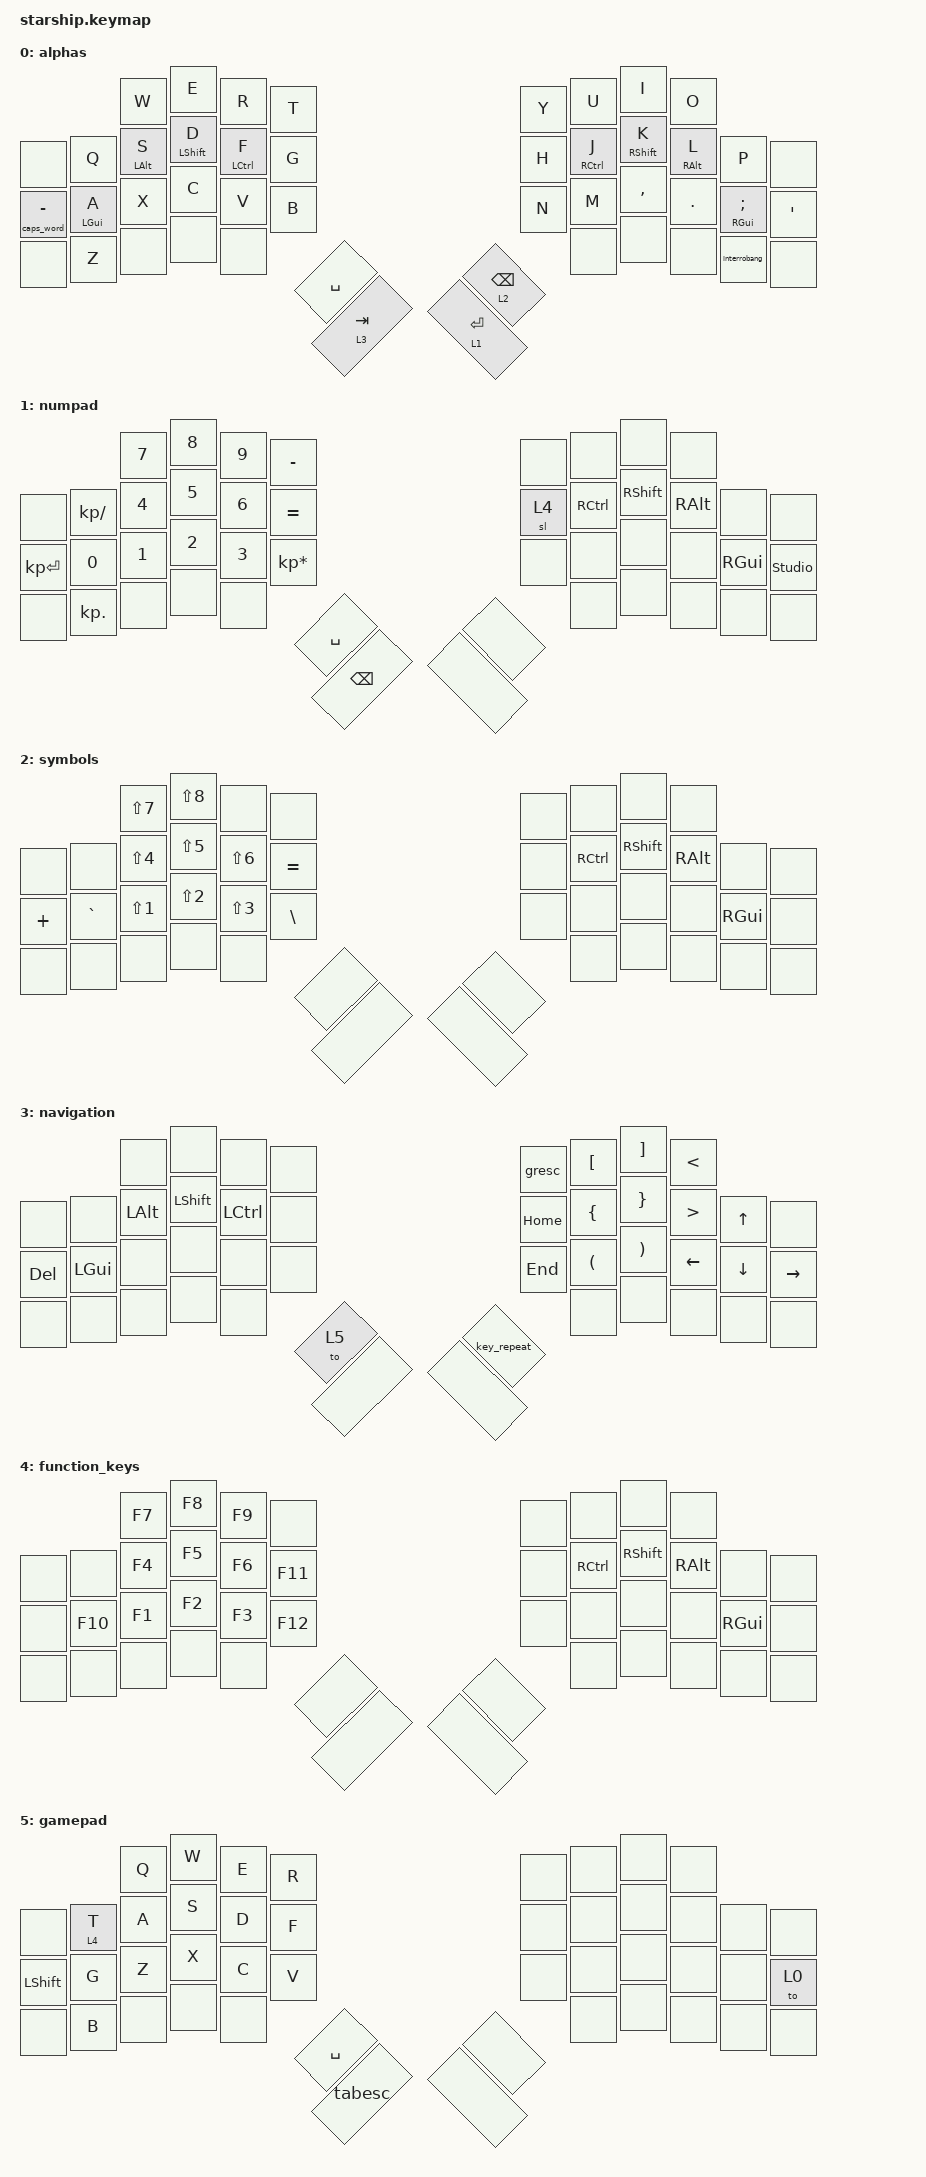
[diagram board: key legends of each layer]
#include <behaviors.dtsi>
#include <dt-bindings/zmk/keys.h>

#define NUMROW 1
#define KEYS_L 0 1 2 3 8 9 10 11 12 13 20 21 22 23 24 25 32 33 34 35 36
#define KEYS_R 4 5 6 7 14 15 16 17 18 19 26 27 28 29 30 31 37 38 39 40 41
#define THUMBS 42 43 44 45

/ {
    behaviors {
        hml: home_row_mod_left {
            compatible = "zmk,behavior-hold-tap";
            #binding-cells = <2>;
            flavor = "balanced";
            require-prior-idle-ms = <150>;
            tapping-term-ms = <280>;
            quick-tap-ms = <175>;
            bindings = <&kp>, <&kp>;

            hold-trigger-key-positions = < KEYS_R THUMBS>; // List of keys on the right side of the keyboard
            hold-trigger-on-release;
        };

        hmr: home_row_mod_right {
            compatible = "zmk,behavior-hold-tap";
            #binding-cells = <2>;
            flavor = "balanced";
            require-prior-idle-ms = <150>;
            tapping-term-ms = <280>;
            quick-tap-ms = <175>;
            bindings = <&kp>, <&kp>;

            hold-trigger-key-positions = < KEYS_L THUMBS>; // List of keys on the left side of the keyboard
            hold-trigger-on-release;
        };

        //same as home row mods but without require-prior-idle-ms and a (very slightly) faster tapping term for shift

        hsl: home_row_shift_left {
            compatible = "zmk,behavior-hold-tap";
            #binding-cells = <2>;
            flavor = "balanced";
            tapping-term-ms = <200>;
            quick-tap-ms = <175>;
            bindings = <&kp>, <&kp>;

            hold-trigger-key-positions = < KEYS_R THUMBS>; // List of keys on the right side of the keyboard
            hold-trigger-on-release;
        };

        hsr: home_row_shift_right {
            compatible = "zmk,behavior-hold-tap";
            #binding-cells = <2>;
            flavor = "balanced";
            tapping-term-ms = <200>;
            quick-tap-ms = <175>;
            bindings = <&kp>, <&kp>;

            hold-trigger-key-positions = < KEYS_L THUMBS>; // List of keys on the left side of the keyboard
            hold-trigger-on-release;
        };

        interrobang: interrobang {
            compatible = "zmk,behavior-mod-morph";
            label = "INTERROBANG";
            bindings = <&kp SLASH>, <&kp EXCL>;

            #binding-cells = <0>;
            mods = <(MOD_LALT)>;
        };

        tabesc: tabesc {
            compatible = "zmk,behavior-tap-dance";
            label = "TABESC";
            #binding-cells = <0>;
            bindings = <&kp TAB>, <&kp ESC>;
        };

        taps_word: taps_word {
            compatible = "zmk,behavior-hold-tap";
            label = "TAPS_WORD";
            bindings = <&caps_word>, <&kp>;

            #binding-cells = <2>;
            tapping-term-ms = <200>;
            flavor = "tap-unless-interrupted";
        };
    };

    combos {
        compatible = "zmk,combos";

        splitrn {
            bindings = <&kp ENTER>;
            key-positions = <20 13 10 11>;
            layers = <5>;
        };
    };

    keymap {
        compatible = "zmk,keymap";

        base {
            display-name = "alphas";
            bindings = <
                                 &kp W        &kp E          &kp R         &kp T        &kp Y       &kp U         &kp I          &kp O
&none               &kp Q        &hml LALT S  &hsl LSHIFT D  &hml LCTRL F  &kp G        &kp H       &hmr RCTRL J  &hsr RSHIFT K  &hmr RALT L  &kp P           &none
&taps_word 0 MINUS  &hml LGUI A  &kp X        &kp C          &kp V         &kp B        &kp N       &kp M         &kp COMMA      &kp DOT      &hmr RGUI SEMI  &kp APOS
&none               &kp Z        &none        &none          &none                                  &none         &none          &none        &interrobang    &none
                                                                           &kp SPACE    &lt 2 BSPC
                                                                           &lt 3 TAB    &lt 1 RET
            >;
        };

        num {
            display-name = "numpad";
            bindings = <
                             &kp N7  &kp N8  &kp N9  &kp MINUS          &none  &none      &none      &none
&none         &kp KP_DIVIDE  &kp N4  &kp N5  &kp N6  &kp EQUAL          &sl 4  &kp RCTRL  &kp RSHFT  &kp RALT  &none     &none
&kp KP_ENTER  &kp N0         &kp N1  &kp N2  &kp N3  &kp KP_MULTIPLY    &none  &none      &none      &none     &kp RGUI  &studio_unlock
&none         &kp KP_DOT     &none   &none   &none                             &none      &none      &none     &none     &none
                                                     &kp SPACE          &none
                                                     &kp BSPC           &none
            >;
        };

        sym {
            display-name = "symbols";
            bindings = <
                     &kp LS(N7)  &kp LS(N8)  &none       &none            &none  &none      &none      &none
&none     &none      &kp LS(N4)  &kp LS(N5)  &kp LS(N6)  &kp EQUAL        &none  &kp RCTRL  &kp RSHFT  &kp RALT  &none     &none
&kp PLUS  &kp GRAVE  &kp LS(N1)  &kp LS(N2)  &kp LS(N3)  &kp BACKSLASH    &none  &none      &none      &none     &kp RGUI  &none
&none     &none      &none       &none       &none                               &none      &none      &none     &none     &none
                                                         &none            &none
                                                         &none            &none
            >;
        };

        nav {
            display-name = "navigation";
            bindings = <
                   &none     &none       &none      &none    &gresc       &kp LBKT  &kp RBKT  &kp LT
&none    &none     &kp LALT  &kp LSHIFT  &kp LCTRL  &none    &kp HOME     &kp LBRC  &kp RBRC  &kp GT    &kp UP    &none
&kp DEL  &kp LGUI  &none     &none       &none      &none    &kp END      &kp LPAR  &kp RPAR  &kp LEFT  &kp DOWN  &kp RIGHT
&none    &none     &none     &none       &none                            &none     &none     &none     &none     &none
                                                    &to 5    &key_repeat
                                                    &none    &none
            >;
        };

        fn {
            display-name = "function_keys";
            bindings = <
                &kp F7  &kp F8  &kp F9  &none      &none  &none      &none      &none
&none  &none    &kp F4  &kp F5  &kp F6  &kp F11    &none  &kp RCTRL  &kp RSHFT  &kp RALT  &none     &none
&none  &kp F10  &kp F1  &kp F2  &kp F3  &kp F12    &none  &none      &none      &none     &kp RGUI  &none
&none  &none    &none   &none   &none                     &none      &none      &none     &none     &none
                                        &none      &none
                                        &none      &none
            >;
        };

        game {
            display-name = "gamepad";
            bindings = <
                    &kp Q  &kp W  &kp E  &kp R        &none  &none  &none  &none
&none      &lt 4 T  &kp A  &kp S  &kp D  &kp F        &none  &none  &none  &none  &none  &none
&kp LSHFT  &kp G    &kp Z  &kp X  &kp C  &kp V        &none  &none  &none  &none  &none  &to 0
&none      &kp B    &none  &none  &none                      &none  &none  &none  &none  &none
                                         &kp SPACE    &none
                                         &tabesc      &none
            >;
        };
    };
};
